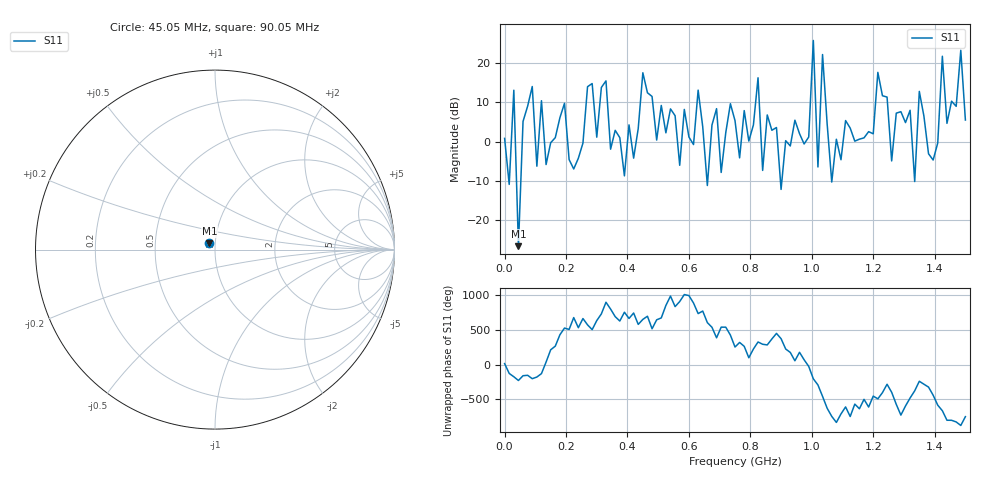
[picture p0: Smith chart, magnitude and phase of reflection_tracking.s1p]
! Created with skrf 1.8.0 (http://scikit-rf.org).
# Hz S RI R 50.0
!freq ReS11 ImS11
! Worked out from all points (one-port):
!   101 points, 50 kHz to 1.5 GHz, reference 50 ohm
!   lowest |S11| = -26.5 dB at 45.05 MHz (marker M1), VSWR 1.10, Z = 46.9 + j3.3 ohm
!   |S11| at or under -10 dB: 13.94 MHz to 15.59 MHz (1.645 MHz wide, 11.1 % of centre); 38.78 MHz to 52.88 MHz (14.1 MHz wide, 30.8 % of centre); 658.8861 MHz to 661.1353 MHz (2.249 MHz wide, 0.341 % of centre) (the widest 3 of 6)
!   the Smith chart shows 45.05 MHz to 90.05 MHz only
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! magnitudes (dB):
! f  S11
! 50 kHz  0.8
! 15.05 MHz  -10.9
! 30.05 MHz  13.0
! 45.05 MHz  -26.5
! 60.05 MHz  5.1
! 90.05 MHz  14.0
! 105 MHz  -6.2
! 195 MHz  9.7
! 375 MHz  1.0
! 450 MHz  17.5
! 570 MHz  -6.0
! 750 MHz  5.3
! 825 MHz  16.2
! 840 MHz  -7.3
! 900 MHz  -12.1
! 945 MHz  5.4
! 990 MHz  1.2
! 1.005 GHz  25.7
! 1.02 GHz  -6.4
! 1.035 GHz  22.1
! 1.065 GHz  -10.3
! 1.125 GHz  3.4
! 1.32 GHz  8.0
! 1.335 GHz  -10.1
! 1.35 GHz  12.8
! 1.395 GHz  -4.7
! 1.425 GHz  21.7
! 1.5 GHz  5.5
